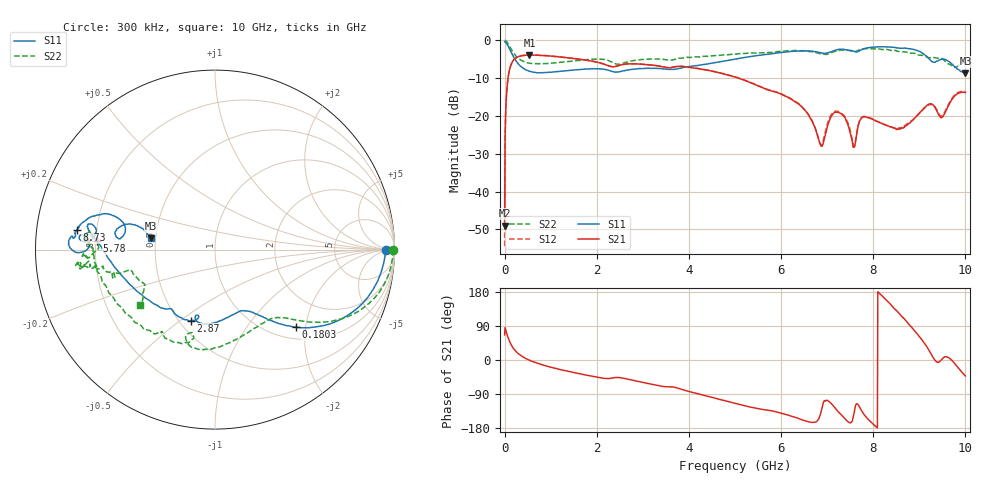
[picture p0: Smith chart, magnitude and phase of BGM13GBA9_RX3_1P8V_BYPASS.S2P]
!Agilent Technologies,E5071C,MY46316587,B.13.01
!Date: Wed Dec 06 10:56:42 2017
!Data & Calibration Information:
!Freq	S11:SOLT2(ON)	S21:SOLT2(ON)	S12:SOLT2(ON)	S22:SOLT2(ON)
!PortZ  Port1:50+j0  Port2:50+j0
!Above PortZ is port z conversion or system Z0 setting when saving the data.
!When reading, reference impedance value at option line is always used.
# Hz S RI R 50
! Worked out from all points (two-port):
!   1001 points, 300 kHz to 10 GHz, reference 50 ohm
!   highest |S21| = -3.92 dB at 540.3 MHz (marker M1); lowest = -49.0 dB at 300 kHz (marker M2)
!   |S21| within 3 dB of the highest: 127 MHz to 2.291 GHz (2.164 GHz wide, 179 % of centre); 2.423 GHz to 3.377 GHz (954.2 MHz wide, 32.9 % of centre)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
!   lowest |S11| = -8.8 dB at 10 GHz (marker M3), VSWR 2.14, Z = 23.5 + j3.42 ohm
!   |S11| at or under -10 dB: nowhere
!   |S22| runs from -7.2 to -0.1 dB; largest |S21 - S12| = 0.0077
!   S11 on the Smith chart (normalised r, x): 300 kHz: 41, -2; 180.3 MHz: 1.25, -1.77; 2.87 GHz: 0.57, -0.55; 5.78 GHz: 0.21, +0.04; 8.73 GHz: 0.12, +0.07; 10 GHz: 0.47, +0.07
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300000  0.9522 -0.00274  0.00144 0.00325  -0.000871 0.00169  0.9911 -0.00226
6.02982e7  0.8175 -0.3044  0.1121 0.2399  0.1123 0.241  0.8883 -0.2702
1.00297e8  0.6742 -0.4007  0.2437 0.3066  0.2434 0.3064  0.7646 -0.3625
1.802946e8  0.4508 -0.432  0.446 0.287  0.4461 0.2865  0.5682 -0.4049
5.402838e8  0.1827 -0.3429  0.6369 -0.00807  0.6375 -0.00804  0.3135 -0.3845
1.67025e9  -0.0178 -0.4109  0.441 -0.3375  0.4414 -0.3396  0.0129 -0.5439
2.870214e9  -0.1339 -0.3964  0.271 -0.4029  0.2725 -0.4026  -0.1631 -0.5178
3.3402e9  -0.2139 -0.3657  0.1721 -0.4221  0.1724 -0.4231  -0.2721 -0.4962
5.00015e9  -0.551 -0.1078  -0.1337 -0.2976  -0.1349 -0.2991  -0.6319 -0.1601
5.780127e9  -0.6573 0.0494  -0.1483 -0.1552  -0.1498 -0.1563  -0.6874 0.0145
6.6701e9  -0.6994 0.1427  -0.0827 -0.0227  -0.0839 -0.0221  -0.699 0.102
6.880094e9  -0.666 0.1211  -0.0259 -0.0299  -0.0263 -0.0321  -0.6568 0.0656
7.190084e9  -0.7396 0.0472  -0.0709 -0.0862  -0.0742 -0.0893  -0.7133 -0.0406
7.390078e9  -0.7464 0.0813  -0.0855 -0.0397  -0.0876 -0.0391  -0.7332 -0.0267
7.570073e9  -0.7132 0.0674  -0.0328 -0.0199  -0.0358 -0.0203  -0.7043 -0.0513
7.780067e9  -0.7654 -0.0169  -0.0742 -0.0622  -0.0749 -0.0628  -0.757 -0.0952
8.34005e9  -0.8086 0.0602  -0.0639 0.0348  -0.0643 0.0345  -0.7363 -0.0947
8.730038e9  -0.7714 0.1082  -0.0141 0.074  -0.0145 0.0766  -0.6847 -0.1045
9.220023e9  -0.5333 0.1703  0.1313 0.0568  0.1287 0.0552  -0.5727 -0.1243
9.490015e9  -0.5556 0.0866  0.0954 0.0035  0.1004 0.00356  -0.5571 -0.1293
9.770007e9  -0.4272 0.1295  0.1808 -0.031  0.1874 -0.0318  -0.3943 -0.1907
1e10  -0.3581 0.0632  0.151 -0.1365  0.1573 -0.1393  -0.4193 -0.3082
